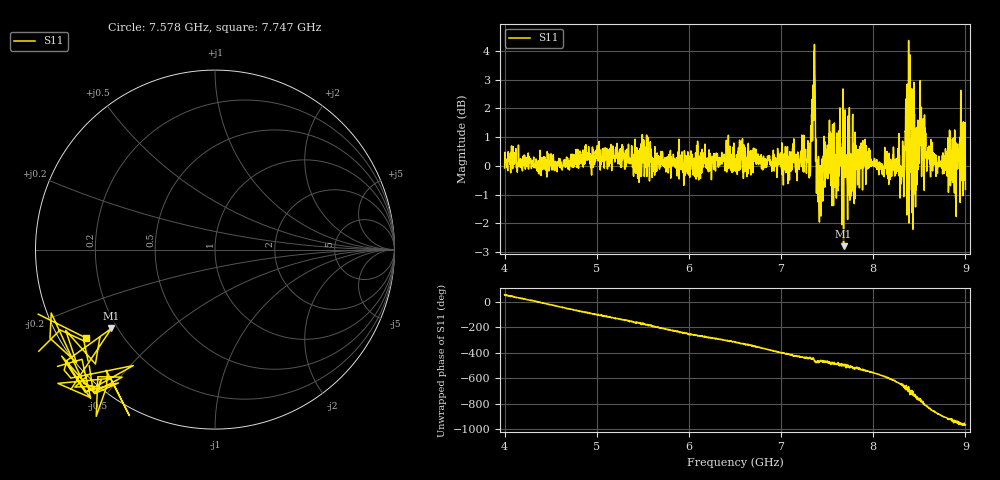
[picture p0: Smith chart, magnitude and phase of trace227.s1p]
! Created with skrf 1.8.0 (http://scikit-rf.org).
# Hz S RI R 50.0
!freq ReS11 ImS11
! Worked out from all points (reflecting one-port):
!   1601 points, 4 GHz to 9 GHz, reference 50 ohm
!   lowest |S11| = -2.8 dB at 7.678 GHz (marker M1), VSWR 6.28, Z = 8.85 - j16.4 ohm
!   phase of S11 starts at 54 deg and turns -1020 deg over the sweep
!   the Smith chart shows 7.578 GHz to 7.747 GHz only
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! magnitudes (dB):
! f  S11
! 4 GHz  -0.1
! 4.625 GHz  -0.1
! 5.25 GHz  0.1
! 5.875 GHz  0.1
! 6.5 GHz  0.0
! 7.125 GHz  0.6
! 7.294 GHz  0.1
! 7.328 GHz  0.9
! 7.347 GHz  2.8
! 7.372 GHz  1.4
! 7.397 GHz  -0.1
! 7.409 GHz  -0.9
! 7.512 GHz  0.6
! 7.591 GHz  -0.1
! 7.65 GHz  0.4
! 7.678 GHz  -2.8
! 7.75 GHz  -0.7
! 8.259 GHz  0.3
! 8.312 GHz  -0.1
! 8.375 GHz  -1.0
! 8.394 GHz  1.3
! 8.412 GHz  0.9
! 8.447 GHz  1.8
! 8.522 GHz  2.0
! 8.706 GHz  0.1
! 8.875 GHz  0.7
! 8.972 GHz  0.4
! 9 GHz  -0.8
